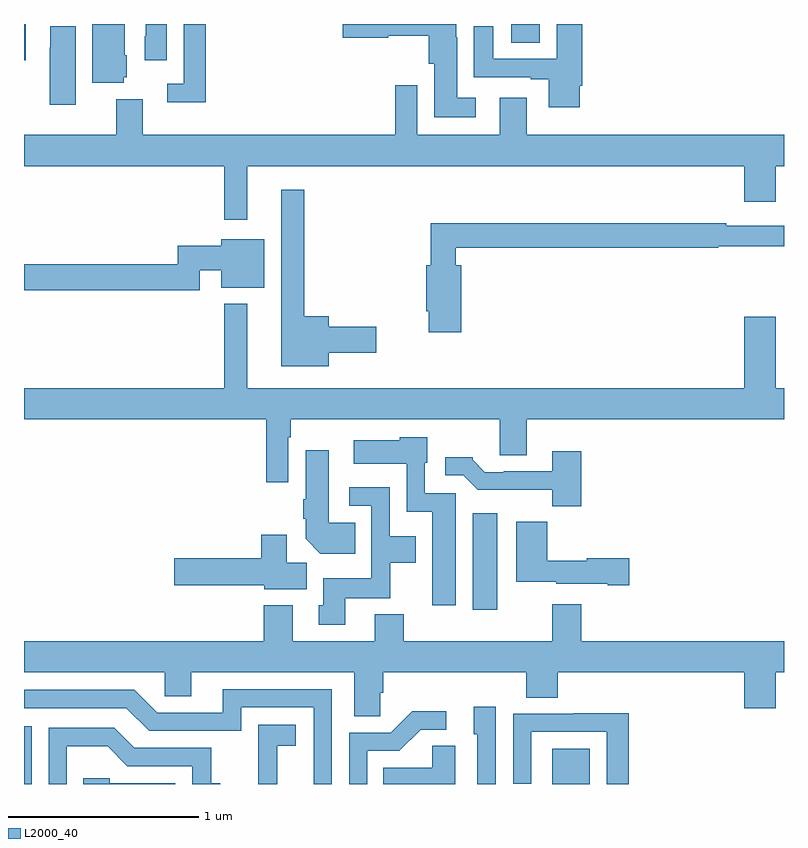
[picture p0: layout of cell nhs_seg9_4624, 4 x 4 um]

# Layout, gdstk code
import gdstk
lib = gdstk.Library(unit=1e-6, precision=1e-09)
def R(c, l, rs):  # rectangles x0, y0, x1, y1
    for r in rs: c.add(gdstk.rectangle(r[:2], r[2:], *l))
def P(c, l, *ps):  # polygons
    for p in ps: c.add(gdstk.Polygon(p, *l))
L2000_40 = (2000, 40)

nhs_seg9_4624 = lib.new_cell('nhs_seg9_4624')
R(nhs_seg9_4624, L2000_40, [(377,1194.5,377.04,1194.805), (379.781,1194.5,379.978,1194.685), (379.361,1195.416,379.492,1195.924), (377,1198.309,377.008,1198.5), (379.565,1198.402,379.714,1198.5)])
P(nhs_seg9_4624, L2000_40, [(379.924,1198.174),(379.937,1198.174),(379.937,1198.5),(379.805,1198.5),(379.805,1198.317),(379.471,1198.317),(379.471,1198.489),(379.367,1198.489),(379.367,1198.221),(379.667,1198.221),(379.667,1198.209),(379.763,1198.209),(379.763,1198.062),(379.924,1198.062)],
  [(377.957,1198.5),(377.841,1198.5),(377.841,1198.185),(377.754,1198.185),(377.754,1198.088),(377.957,1198.088)],
  [(377.526,1198.221),(377.542,1198.221),(377.542,1198.335),(377.529,1198.335),(377.529,1198.5),(377.36,1198.5),(377.36,1198.19),(377.526,1198.19)],
  [(377.752,1198.5),(377.64,1198.5),(377.64,1198.435),(377.636,1198.435),(377.636,1198.308),(377.752,1198.308)],
  [(379.378,1198.111),(379.279,1198.111),(379.279,1198.43),(379.275,1198.43),(379.275,1198.5),(378.678,1198.5),(378.678,1198.427),(378.918,1198.427),(378.918,1198.439),(379.13,1198.439),(379.13,1198.29),(379.16,1198.29),(379.16,1198.01),(379.378,1198.01)],
  [(377.272,1198.489),(377.138,1198.489),(377.138,1198.376),(377.135,1198.376),(377.135,1198.074),(377.272,1198.074)],
  [(380.792,1197.564),(380.956,1197.564),(380.956,1197.752),(381,1197.752),(381,1197.916),(379.645,1197.916),(379.645,1198.111),(379.505,1198.111),(379.505,1197.916),(379.071,1197.916),(379.071,1198.177),(378.955,1198.177),(378.955,1197.916),(377.626,1197.916),(377.626,1198.105),(377.486,1198.105),(377.486,1197.916),(377,1197.916),(377,1197.752),(378.054,1197.752),(378.054,1197.471),(378.175,1197.471),(378.175,1197.752),(380.792,1197.752)],
  [(378.604,1196.771),(378.853,1196.771),(378.853,1196.906),(378.604,1196.906),(378.604,1196.962),(378.475,1196.962),(378.475,1197.628),(378.353,1197.628),(378.353,1196.699),(378.604,1196.699)],
  [(379.301,1197.229),(379.273,1197.229),(379.273,1197.322),(380.654,1197.322),(380.654,1197.33),(381,1197.33),(381,1197.438),(380.696,1197.438),(380.696,1197.451),(379.141,1197.451),(379.141,1197.229),(379.118,1197.229),(379.118,1196.989),(379.13,1196.989),(379.13,1196.877),(379.301,1196.877)],
  [(377.925,1197.205),(378.038,1197.205),(378.038,1197.113),(378.265,1197.113),(378.265,1197.367),(378.038,1197.367),(378.038,1197.334),(377.809,1197.334),(377.809,1197.236),(377,1197.236),(377,1197.1),(377.925,1197.1)],
  [(378.39,1196.324),(378.403,1196.324),(378.403,1196.42),(379.505,1196.42),(379.505,1196.23),(379.645,1196.23),(379.645,1196.42),(381,1196.42),(381,1196.584),(380.956,1196.584),(380.956,1196.959),(380.792,1196.959),(380.792,1196.584),(378.175,1196.584),(378.175,1197.028),(378.054,1197.028),(378.054,1196.584),(377,1196.584),(377,1196.42),(378.274,1196.42),(378.274,1196.088),(378.39,1196.088)],
  [(379.273,1196.031),(379.11,1196.031),(379.11,1196.19),(379.123,1196.19),(379.123,1196.326),(378.978,1196.326),(378.978,1196.308),(378.735,1196.308),(378.735,1196.186),(379.014,1196.186),(379.014,1195.934),(379.148,1195.934),(379.148,1195.44),(379.273,1195.44)],
  [(378.743,1195.876),(378.604,1195.876),(378.604,1196.257),(378.482,1196.257),(378.482,1196),(378.47,1196),(378.47,1195.897),(378.482,1195.897),(378.482,1195.79),(378.56,1195.712),(378.743,1195.712)],
  [(379.934,1196.251),(379.781,1196.251),(379.781,1196.145),(379.525,1196.145),(379.525,1196.142),(379.426,1196.142),(379.362,1196.206),(379.362,1196.221),(379.218,1196.221),(379.218,1196.124),(379.311,1196.124),(379.387,1196.048),(379.779,1196.048),(379.779,1195.961),(379.934,1195.961)],
  [(378.691,1195.478),(378.927,1195.478),(378.927,1195.664),(379.063,1195.664),(379.063,1195.804),(378.924,1195.804),(378.924,1196.061),(378.711,1196.061),(378.711,1195.965),(378.828,1195.965),(378.828,1195.582),(378.575,1195.582),(378.575,1195.44),(378.551,1195.44),(378.551,1195.338),(378.691,1195.338)],
  [(380.185,1195.688),(379.962,1195.688),(379.962,1195.675),(379.754,1195.675),(379.754,1195.879),(379.592,1195.879),(379.592,1195.565),(379.8,1195.565),(379.8,1195.553),(380.072,1195.553),(380.072,1195.546),(380.185,1195.546)],
  [(378.487,1195.664),(378.382,1195.664),(378.382,1195.813),(378.248,1195.813),(378.248,1195.688),(377.79,1195.688),(377.79,1195.546),(378.264,1195.546),(378.264,1195.526),(378.487,1195.526)],
  [(378.876,1194.979),(378.89,1194.979),(378.89,1195.088),(379.643,1195.088),(379.643,1194.955),(379.808,1194.955),(379.808,1195.088),(380.792,1195.088),(380.792,1194.9),(380.956,1194.9),(380.956,1195.088),(381,1195.088),(381,1195.252),(379.934,1195.252),(379.934,1195.447),(379.781,1195.447),(379.781,1195.252),(378.998,1195.252),(378.998,1195.393),(378.845,1195.393),(378.845,1195.252),(378.415,1195.252),(378.415,1195.441),(378.263,1195.441),(378.263,1195.252),(377,1195.252),(377,1195.088),(377.742,1195.088),(377.742,1194.961),(377.881,1194.961),(377.881,1195.088),(378.737,1195.088),(378.737,1194.856),(378.876,1194.856)],
  [(378.621,1194.999),(378.047,1194.999),(378.047,1194.876),(377.7,1194.876),(377.58,1194.996),(377,1194.996),(377,1194.9),(377.538,1194.9),(377.658,1194.78),(378.144,1194.78),(378.144,1194.903),(378.525,1194.903),(378.525,1194.5),(378.621,1194.5)],
  [(379.482,1194.907),(379.367,1194.907),(379.367,1194.762),(379.386,1194.762),(379.386,1194.5),(379.482,1194.5)],
  [(378.807,1194.675),(378.976,1194.675),(379.087,1194.786),(379.222,1194.786),(379.222,1194.884),(379.043,1194.884),(378.93,1194.771),(378.711,1194.771),(378.711,1194.5),(378.807,1194.5)],
  [(380.183,1194.872),(379.891,1194.872),(379.891,1194.87),(379.575,1194.87),(379.575,1194.501),(379.671,1194.501),(379.671,1194.774),(380.067,1194.774),(380.067,1194.5),(380.183,1194.5)],
  [(378.332,1194.701),(378.43,1194.701),(378.43,1194.811),(378.232,1194.811),(378.232,1194.605),(378.233,1194.605),(378.233,1194.5),(378.332,1194.5)],
  [(377.226,1194.698),(377.44,1194.698),(377.544,1194.594),(377.886,1194.594),(377.886,1194.5),(378.034,1194.5),(378.034,1194.505),(377.985,1194.505),(377.985,1194.69),(377.581,1194.69),(377.476,1194.795),(377.13,1194.795),(377.13,1194.5),(377.226,1194.5)],
  [(379.27,1194.701),(379.149,1194.701),(379.149,1194.586),(378.892,1194.586),(378.892,1194.5),(379.27,1194.5)],
  [(377.796,1194.504),(377.451,1194.504),(377.451,1194.531),(377.311,1194.531),(377.311,1194.5),(377.796,1194.5)])

lib.write_gds('nhs_seg9_4624.gds')
